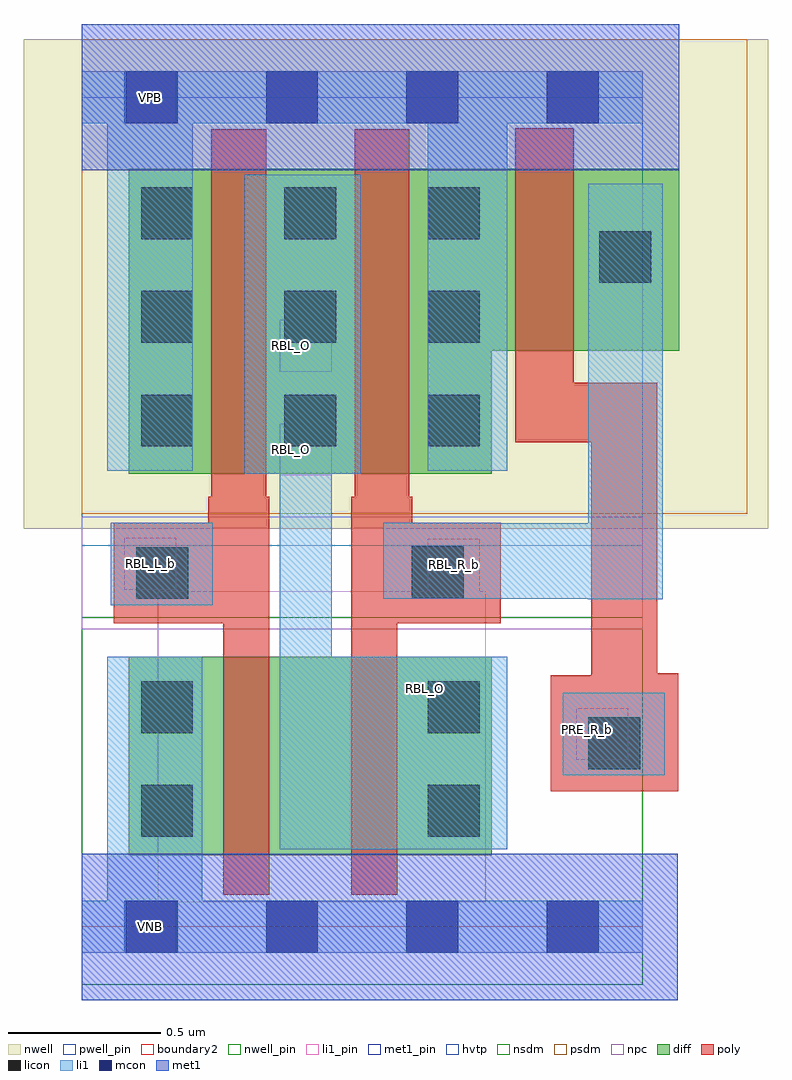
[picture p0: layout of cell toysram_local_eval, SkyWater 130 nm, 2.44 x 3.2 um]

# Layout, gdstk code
import gdstk
lib = gdstk.Library(unit=1e-6, precision=1e-09)
def R(c, l, rs):  # rectangles x0, y0, x1, y1
    for r in rs: c.add(gdstk.rectangle(r[:2], r[2:], *l))
def A(c, l, x, y, w, h, nx, ny, dx, dy):  # array of equal rectangles
    R(c, l, [(x+i*dx, y+j*dy, x+i*dx+w, y+j*dy+h) for i in range(nx) for j in range(ny)])
def P(c, l, *ps):  # polygons
    for p in ps: c.add(gdstk.Polygon(p, *l))
nwell_pin = (64, 16)
nwell = (64, 20)
diff = (65, 20)
poly = (66, 20)
licon = (66, 44)
li1_pin = (67, 16)
li1 = (67, 20)
mcon = (67, 44)
met1_pin = (68, 16)
met1 = (68, 20)
hvtp = (78, 44)
nsdm = (93, 44)
psdm = (94, 20)
npc = (95, 20)
pwell_pin = (122, 16)
boundary2 = (236, 0)

toysram_local_eval = lib.new_cell('toysram_local_eval')
R(toysram_local_eval, nwell_pin, [(0.06,2.725,0.23,2.895)])
R(toysram_local_eval, nwell, [(-0.27,1.395,2.172,3)])
R(toysram_local_eval, diff, [(0.075,0.325,1.265,0.975), (0.075,1.575,1.265,2.575), (1.266,1.979,1.879,2.575)])
P(toysram_local_eval, poly, [(1.459,0.535),(1.459,0.914),(1.591,0.914),(1.591,1.678),(1.342,1.678),(1.342,2.708),(1.534,2.708),(1.534,1.874),(1.808,1.874),(1.808,0.922),(1.876,0.922),(1.876,0.535)],
  [(0.385,0.195),(0.385,1.085),(0.025,1.085),(0.025,1.415),(0.335,1.415),(0.335,1.5),(0.345,1.5),(0.345,2.705),(0.525,2.705),(0.525,1.5),(0.535,1.5),(0.535,0.195)],
  [(0.805,0.195),(0.805,1.5),(0.815,1.5),(0.815,2.705),(0.995,2.705),(0.995,1.5),(1.005,1.5),(1.005,1.415),(1.295,1.415),(1.295,1.085),(0.955,1.085),(0.955,0.195)])
A(toysram_local_eval, licon, 0.115, 1.665, 0.17, 0.17, 3, 3, 0.47, 0.34)
R(toysram_local_eval, licon, [(0.115,0.385,0.285,0.555), (1.055,0.385,1.225,0.555), (1.582,0.607,1.752,0.777), (0.115,0.725,0.285,0.895), (1.055,0.725,1.225,0.895), (0.1,1.165,0.27,1.335), (0.1,1.165,0.27,1.335), (1.003,1.168,1.173,1.338), (1.003,1.168,1.173,1.338), (1.618,2.201,1.788,2.371)])
R(toysram_local_eval, li1_pin, [(0.17,0.17,1.245,1.19), (1.542,0.637,1.712,0.807), (1.055,1.192,1.225,1.362), (1.055,1.192,1.225,1.362), (0.06,1.195,0.23,1.365), (0.57,1.57,0.74,1.74), (0.57,1.91,0.74,2.08)])
R(toysram_local_eval, li1, [(1.497,0.587,1.832,0.857), (0.015,1.145,0.35,1.415)])
P(toysram_local_eval, li1, [(1.582,1.164),(1.582,1.165),(0.91,1.165),(0.91,1.415),(1.295,1.415),(1.295,1.413),(1.582,1.413),(1.582,2.527),(1.826,2.527),(1.826,1.164)],
  [(-0.08,0.005),(-0.08,0.175),(0.005,0.175),(0.005,0.975),(0.315,0.975),(0.315,0.175),(1.76,0.175),(1.76,0.005)],
  [(0.005,1.585),(0.005,2.725),(-0.08,2.725),(-0.08,2.895),(1.76,2.895),(1.76,2.725),(1.315,2.725),(1.315,1.585),(1.055,1.585),(1.055,2.725),(0.285,2.725),(0.285,1.585)],
  [(0.57,0.345),(0.57,1.575),(0.455,1.575),(0.455,2.555),(0.835,2.555),(0.835,1.575),(0.74,1.575),(0.74,0.975),(1.315,0.975),(1.315,0.345)])
A(toysram_local_eval, mcon, 0.065, 0.005, 0.17, 0.17, 4, 2, 0.46, 2.72)
R(toysram_local_eval, met1_pin, [(0.06,0.005,0.23,0.175), (0.06,2.725,0.23,2.895)])
R(toysram_local_eval, met1, [(-0.08,-0.15,1.874,0.33), (-0.08,2.57,1.88,3.05)])
R(toysram_local_eval, hvtp, [(-0.08,1.34,1.76,2.81)])
R(toysram_local_eval, nsdm, [(-0.08,-0.1,1.76,1.105)])
R(toysram_local_eval, psdm, [(-0.08,1.445,2.102,3)])
R(toysram_local_eval, npc, [(-0.08,1.065,1.76,1.435)])
R(toysram_local_eval, pwell_pin, [(0.06,0.005,0.23,0.175)])
R(toysram_local_eval, boundary2, [(-0.08,0.09,1.76,2.81)])
toysram_local_eval.add(gdstk.Label('RBL_O', (0.605,1.655), layer=67, texttype=5))
toysram_local_eval.add(gdstk.Label('RBL_O', (0.605,1.995), layer=67, texttype=5))
toysram_local_eval.add(gdstk.Label('RBL_O', (1.045,0.87), layer=67, texttype=5))
toysram_local_eval.add(gdstk.Label('RBL_L_b', (0.145,1.28), layer=67, texttype=5))
toysram_local_eval.add(gdstk.Label('RBL_R_b', (1.143,1.277), layer=67, texttype=5))
toysram_local_eval.add(gdstk.Label('PRE_R_b', (1.579,0.736), layer=67, texttype=5))
toysram_local_eval.add(gdstk.Label('VPB', (0.145,2.81), layer=64, texttype=5))
toysram_local_eval.add(gdstk.Label('VNB', (0.145,0.09), layer=64, texttype=59))
toysram_local_eval.add(gdstk.Label('VGND', (0.15,0.09), layer=68, texttype=5))
toysram_local_eval.add(gdstk.Label('VPWR', (0.145,2.81), layer=68, texttype=5))
toysram_local_eval.add(gdstk.Label('toysram_local_eval', (-0.08,0.09), layer=83, texttype=44))

lib.write_gds('toysram_local_eval.gds')
